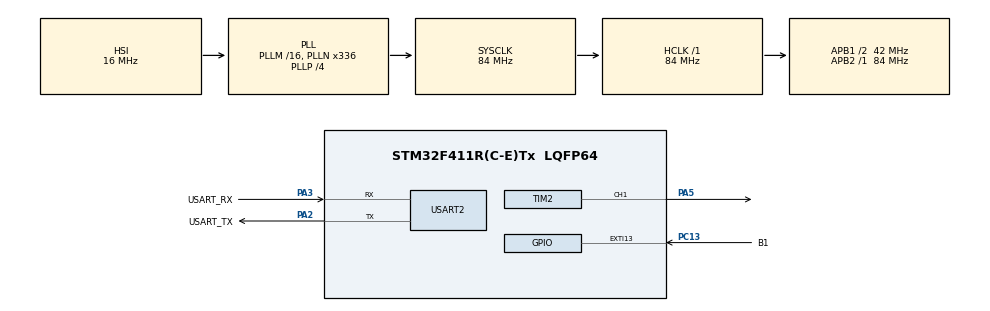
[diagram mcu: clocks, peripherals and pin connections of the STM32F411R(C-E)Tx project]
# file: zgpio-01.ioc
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Mcu.Family=STM32F4
Mcu.Name=STM32F411R(C-E)Tx
Mcu.Package=LQFP64
NVIC.EXTI15_10_IRQn=true\:0\:0\:false\:false\:true\:true\:true\:true
NVIC.PriorityGroup=NVIC_PRIORITYGROUP_0
NVIC.TIM3_IRQn=true\:0\:0\:false\:false\:true\:true\:true\:true
PA13.GPIO_Label=TMS
PA13.Mode=Serial_Wire
PA13.Signal=SYS_JTMS-SWDIO
PA14.GPIO_Label=TCK
PA14.Mode=Serial_Wire
PA14.Signal=SYS_JTCK-SWCLK
PA2.GPIO_Label=USART_TX
PA2.Mode=Asynchronous
PA2.Signal=USART2_TX
PA3.GPIO_Label=USART_RX
PA3.Mode=Asynchronous
PA3.Signal=USART2_RX
PA5.Signal=S_TIM2_CH1_ETR
PB3.GPIO_Label=SWO
PB3.Signal=SYS_JTDO-SWO
PC13-ANTI_TAMP.GPIO_Label=B1
PC13-ANTI_TAMP.GPIO_ModeDefaultEXTI=GPIO_MODE_IT_RISING_FALLING
PC13-ANTI_TAMP.Signal=GPXTI13
PC14-OSC32_IN.Mode=LSE-External-Oscillator
PC14-OSC32_IN.Signal=RCC_OSC32_IN
PC15-OSC32_OUT.Mode=LSE-External-Oscillator
PC15-OSC32_OUT.Signal=RCC_OSC32_OUT
PH0\ -\ OSC_IN.Mode=HSE-External-Clock-Source
PH0\ -\ OSC_IN.Signal=RCC_OSC_IN
PH1\ -\ OSC_OUT.Mode=HSE-External-Clock-Source
PH1\ -\ OSC_OUT.Signal=RCC_OSC_OUT
ProjectManager.HeapSize=0x200
ProjectManager.StackSize=0x400
ProjectManager.TargetToolchain=STM32CubeIDE
RCC.48MHZClocksFreq_Value=84000000
RCC.AHBFreq_Value=84000000
RCC.APB1CLKDivider=RCC_HCLK_DIV2
RCC.APB1Freq_Value=42000000
RCC.APB1TimFreq_Value=84000000
RCC.APB2Freq_Value=84000000
RCC.APB2TimFreq_Value=84000000
RCC.CortexFreq_Value=84000000
RCC.FLatency-AdvancedSettings=FLASH_LATENCY_2
RCC.HCLKFreq_Value=84000000
RCC.HSE_VALUE=8000000
RCC.HSI_VALUE=16000000
RCC.PLLN=336
RCC.PLLP=RCC_PLLP_DIV4
RCC.SYSCLKFreq_VALUE=84000000
RCC.SYSCLKSource=RCC_SYSCLKSOURCE_PLLCLK
RCC.VCOOutputFreq_Value=336000000
SH.S_TIM2_CH1_ETR.0=TIM2_CH1,PWM Generation1 CH1
TIM2.Channel-PWM\ Generation1\ CH1=TIM_CHANNEL_1
TIM2.Period=200-1
TIM2.Prescaler=84-1
TIM3.Period=5000-1
TIM3.Prescaler=8400-1
TIM5.Prescaler=84-1
USART2.VirtualMode=VM_ASYNC
VP_TIM3_VS_ClockSourceINT.Mode=Internal
VP_TIM5_VS_ClockSourceINT.Mode=Internal
board=NUCLEO-F411RE

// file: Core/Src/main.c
/* USER CODE BEGIN Header */
/**
 ******************************************************************************
 * @file           : main.c
 * @brief          : Main program body
 ******************************************************************************
 * @attention
 *
 * Copyright (c) 2023 STMicroelectronics.
 * All rights reserved.
 *
 * This software is licensed under terms that can be found in the LICENSE file
 * in the root directory of this software component.
 * If no LICENSE file comes with this software, it is provided AS-IS.
 *
 ******************************************************************************
 */
/* USER CODE END Header */
#include "main.h"

TIM_HandleTypeDef htim2;
TIM_HandleTypeDef htim3;
TIM_HandleTypeDef htim5;

UART_HandleTypeDef huart2;

void SystemClock_Config(void);
static void MX_GPIO_Init(void);
static void MX_USART2_UART_Init(void);
static void MX_TIM3_Init(void);
static void MX_TIM5_Init(void);
static void MX_TIM2_Init(void);

/* USER CODE BEGIN 0 */
int flag = 0;
int val = 0;
void HAL_GPIO_EXTI_Callback (uint16_t GPIO_Pin)
{
  val = HAL_GPIO_ReadPin (B1_GPIO_Port, B1_Pin);
  flag++;
//  if(r==0) val = 0; else val =1;
//  flag = 1;
//  if(val++ > 4)val =0;
// if(val ==0) val =1; else val =0;
}
int cnt=0;
void HAL_TIM_PeriodElapsedCallback(TIM_HandleTypeDef *htim)
{
 // HAL_GPIO_TogglePin(LD2_GPIO_Port,LD2_Pin);
//  printf("timer3..%d\r\n",cnt++);
}

void myDelay(int interval)  //microsecond delay
{
 volatile int start = htim5.Instance->CNT;
 while(1)
 {
   volatile int cur = htim5.Instance->CNT;
   if(cur - start > interval) return;
 }
}

int __io_putchar(int ch)
{
  HAL_UART_Transmit(&huart2, &ch, 1, 10);
  return ch;
}

int __io_getchar(void)
{

}

/* USER CODE END 0 */

int main(void)
{

  /* MCU Configuration--------------------------------------------------------*/

  /* Reset of all peripherals, Initializes the Flash interface and the Systick. */
  HAL_Init();

  /* Configure the system clock */
  SystemClock_Config();

  /* Initialize all configured peripherals */
  MX_GPIO_Init();
  MX_USART2_UART_Init();
  MX_TIM3_Init();
  MX_TIM5_Init();
  MX_TIM2_Init();
  /* USER CODE BEGIN 2 */
//  HAL_TIM_Base_Start_IT(&htim3);
  HAL_TIM_Base_Start(&htim5);
  HAL_TIM_PWM_Start(&htim2, TIM_CHANNEL_1);
  /* USER CODE END 2 */

  /* Infinite loop */
  /* USER CODE BEGIN WHILE */
  int ccr=0;
  while (1)
  {
    /* USER CODE END WHILE */

    /* USER CODE BEGIN 3 */
    htim2.Instance->CCR1 = flag*10;
    if(flag*10>htim2.Instance->ARR) flag =0;
    myDelay(10000);
    //int val = HAL_GPIO_ReadPin(BL_GPIO_Port,BL_Pin);
//    if (val == 1)
//    {
//
//      HAL_GPIO_WritePin (LD2_GPIO_Port, LD2_Pin, 1); //LED ON
//      HAL_Delay (1000);    //0.2s delay
//      HAL_GPIO_WritePin (LD2_GPIO_Port, LD2_Pin, 0); //LED OFF
//      HAL_Delay (1000);    //0.2s delay
//
//    }
  }
  /* USER CODE END 3 */
}

void SystemClock_Config(void)
{
  RCC_OscInitTypeDef RCC_OscInitStruct = {0};
  RCC_ClkInitTypeDef RCC_ClkInitStruct = {0};

  /** Configure the main internal regulator output voltage
  */
  __HAL_RCC_PWR_CLK_ENABLE();
  __HAL_PWR_VOLTAGESCALING_CONFIG(PWR_REGULATOR_VOLTAGE_SCALE1);

  /** Initializes the RCC Oscillators according to the specified parameters
  * in the RCC_OscInitTypeDef structure.
  */
  RCC_OscInitStruct.OscillatorType = RCC_OSCILLATORTYPE_HSI;
  RCC_OscInitStruct.HSIState = RCC_HSI_ON;
  RCC_OscInitStruct.HSICalibrationValue = RCC_HSICALIBRATION_DEFAULT;
  RCC_OscInitStruct.PLL.PLLState = RCC_PLL_ON;
  RCC_OscInitStruct.PLL.PLLSource = RCC_PLLSOURCE_HSI;
  RCC_OscInitStruct.PLL.PLLM = 16;
  RCC_OscInitStruct.PLL.PLLN = 336;
  RCC_OscInitStruct.PLL.PLLP = RCC_PLLP_DIV4;
  RCC_OscInitStruct.PLL.PLLQ = 4;
  if (HAL_RCC_OscConfig(&RCC_OscInitStruct) != HAL_OK)
  {
    Error_Handler();
  }

  /** Initializes the CPU, AHB and APB buses clocks
  */
  RCC_ClkInitStruct.ClockType = RCC_CLOCKTYPE_HCLK|RCC_CLOCKTYPE_SYSCLK
                              |RCC_CLOCKTYPE_PCLK1|RCC_CLOCKTYPE_PCLK2;
  RCC_ClkInitStruct.SYSCLKSource = RCC_SYSCLKSOURCE_PLLCLK;
  RCC_ClkInitStruct.AHBCLKDivider = RCC_SYSCLK_DIV1;
  RCC_ClkInitStruct.APB1CLKDivider = RCC_HCLK_DIV2;
  RCC_ClkInitStruct.APB2CLKDivider = RCC_HCLK_DIV1;

  if (HAL_RCC_ClockConfig(&RCC_ClkInitStruct, FLASH_LATENCY_2) != HAL_OK)
  {
    Error_Handler();
  }
}

static void MX_TIM2_Init(void)
{

  TIM_MasterConfigTypeDef sMasterConfig = {0};
  TIM_OC_InitTypeDef sConfigOC = {0};

  htim2.Instance = TIM2;
  htim2.Init.Prescaler = 84-1;
  htim2.Init.CounterMode = TIM_COUNTERMODE_UP;
  htim2.Init.Period = 200-1;
  htim2.Init.ClockDivision = TIM_CLOCKDIVISION_DIV1;
  htim2.Init.AutoReloadPreload = TIM_AUTORELOAD_PRELOAD_DISABLE;
  if (HAL_TIM_PWM_Init(&htim2) != HAL_OK)
  {
    Error_Handler();
  }
  sMasterConfig.MasterOutputTrigger = TIM_TRGO_RESET;
  sMasterConfig.MasterSlaveMode = TIM_MASTERSLAVEMODE_DISABLE;
  if (HAL_TIMEx_MasterConfigSynchronization(&htim2, &sMasterConfig) != HAL_OK)
  {
    Error_Handler();
  }
  sConfigOC.OCMode = TIM_OCMODE_PWM1;
  sConfigOC.Pulse = 0;
  sConfigOC.OCPolarity = TIM_OCPOLARITY_HIGH;
  sConfigOC.OCFastMode = TIM_OCFAST_DISABLE;
  if (HAL_TIM_PWM_ConfigChannel(&htim2, &sConfigOC, TIM_CHANNEL_1) != HAL_OK)
  {
    Error_Handler();
  }
  HAL_TIM_MspPostInit(&htim2);

}

static void MX_TIM3_Init(void)
{

  TIM_ClockConfigTypeDef sClockSourceConfig = {0};
  TIM_MasterConfigTypeDef sMasterConfig = {0};

  htim3.Instance = TIM3;
  htim3.Init.Prescaler = 8400-1;
  htim3.Init.CounterMode = TIM_COUNTERMODE_UP;
  htim3.Init.Period = 5000-1;
  htim3.Init.ClockDivision = TIM_CLOCKDIVISION_DIV1;
  htim3.Init.AutoReloadPreload = TIM_AUTORELOAD_PRELOAD_DISABLE;
  if (HAL_TIM_Base_Init(&htim3) != HAL_OK)
  {
    Error_Handler();
  }
  sClockSourceConfig.ClockSource = TIM_CLOCKSOURCE_INTERNAL;
  if (HAL_TIM_ConfigClockSource(&htim3, &sClockSourceConfig) != HAL_OK)
  {
    Error_Handler();
  }
  sMasterConfig.MasterOutputTrigger = TIM_TRGO_RESET;
  sMasterConfig.MasterSlaveMode = TIM_MASTERSLAVEMODE_DISABLE;
  if (HAL_TIMEx_MasterConfigSynchronization(&htim3, &sMasterConfig) != HAL_OK)
  {
    Error_Handler();
  }

}

static void MX_TIM5_Init(void)
{

  TIM_ClockConfigTypeDef sClockSourceConfig = {0};
  TIM_MasterConfigTypeDef sMasterConfig = {0};

  htim5.Instance = TIM5;
  htim5.Init.Prescaler = 84-1;
  htim5.Init.CounterMode = TIM_COUNTERMODE_UP;
  htim5.Init.Period = 4294967295;
  htim5.Init.ClockDivision = TIM_CLOCKDIVISION_DIV1;
  htim5.Init.AutoReloadPreload = TIM_AUTORELOAD_PRELOAD_DISABLE;
  if (HAL_TIM_Base_Init(&htim5) != HAL_OK)
  {
    Error_Handler();
  }
  sClockSourceConfig.ClockSource = TIM_CLOCKSOURCE_INTERNAL;
  if (HAL_TIM_ConfigClockSource(&htim5, &sClockSourceConfig) != HAL_OK)
  {
    Error_Handler();
  }
  sMasterConfig.MasterOutputTrigger = TIM_TRGO_RESET;
  sMasterConfig.MasterSlaveMode = TIM_MASTERSLAVEMODE_DISABLE;
  if (HAL_TIMEx_MasterConfigSynchronization(&htim5, &sMasterConfig) != HAL_OK)
  {
    Error_Handler();
  }

}

static void MX_USART2_UART_Init(void)
{

  huart2.Instance = USART2;
  huart2.Init.BaudRate = 115200;
  huart2.Init.WordLength = UART_WORDLENGTH_8B;
  huart2.Init.StopBits = UART_STOPBITS_1;
  huart2.Init.Parity = UART_PARITY_NONE;
  huart2.Init.Mode = UART_MODE_TX_RX;
  huart2.Init.HwFlowCtl = UART_HWCONTROL_NONE;
  huart2.Init.OverSampling = UART_OVERSAMPLING_16;
  if (HAL_UART_Init(&huart2) != HAL_OK)
  {
    Error_Handler();
  }

}

static void MX_GPIO_Init(void)
{
  GPIO_InitTypeDef GPIO_InitStruct = {0};

  /* GPIO Ports Clock Enable */
  __HAL_RCC_GPIOC_CLK_ENABLE();
  __HAL_RCC_GPIOH_CLK_ENABLE();
  __HAL_RCC_GPIOA_CLK_ENABLE();
  __HAL_RCC_GPIOB_CLK_ENABLE();

  /*Configure GPIO pin : B1_Pin */
  GPIO_InitStruct.Pin = B1_Pin;
  GPIO_InitStruct.Mode = GPIO_MODE_IT_RISING_FALLING;
  GPIO_InitStruct.Pull = GPIO_NOPULL;
  HAL_GPIO_Init(B1_GPIO_Port, &GPIO_InitStruct);

  /* EXTI interrupt init*/
  HAL_NVIC_SetPriority(EXTI15_10_IRQn, 0, 0);
  HAL_NVIC_EnableIRQ(EXTI15_10_IRQn);

}

void Error_Handler(void)
{
  /* USER CODE BEGIN Error_Handler_Debug */
  /* User can add his own implementation to report the HAL error return state */
  __disable_irq ();
  while (1)
  {
  }
  /* USER CODE END Error_Handler_Debug */
}
